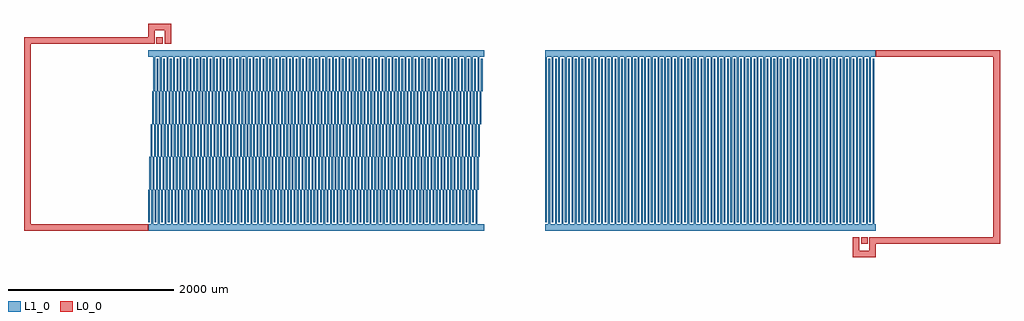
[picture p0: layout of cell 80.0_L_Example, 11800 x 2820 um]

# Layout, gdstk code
import gdstk
lib = gdstk.Library(unit=1e-6, precision=1e-09)
def R(c, l, rs):  # rectangles x0, y0, x1, y1
    for r in rs: c.add(gdstk.rectangle(r[:2], r[2:], *l))
def A(c, l, x, y, w, h, nx, ny, dx, dy):  # array of equal rectangles
    R(c, l, [(x+i*dx, y+j*dy, x+i*dx+w, y+j*dy+h) for i in range(nx) for j in range(ny)])
L0_0 = (0, 0)
L1_0 = (1, 0)

c_80_0_l_example = lib.new_cell('80.0_L_Example')
R(c_80_0_l_example, L0_0, [(8600,-320,8880,-240), (8600,-240,8680,-80), (8800,-240,8880,-80), (8700,-160,8780,-80), (8880,-160,10380,-80), (10300,-80,10380,2100), (-1420,0,80,80), (-1420,80,-1340,2260), (8880,2100,10380,2180), (-1420,2260,80,2340), (80,2260,160,2420), (180,2260,260,2340), (280,2260,360,2420), (80,2420,360,2500)])
A(c_80_0_l_example, L1_0, 224, 0, 80, 80, 49, 2, 80, 2100)
A(c_80_0_l_example, L1_0, 4880, 0, 80, 80, 50, 2, 80, 2100)
A(c_80_0_l_example, L1_0, 120, 80, 20, 416, 50, 1, 80, 0)
A(c_80_0_l_example, L1_0, 4920, 80, 20, 2000, 50, 1, 80, 0)
A(c_80_0_l_example, L1_0, 80, 100, 20, 396, 50, 1, 80, 0)
A(c_80_0_l_example, L1_0, 4880, 100, 20, 2000, 50, 1, 80, 0)
A(c_80_0_l_example, L1_0, 96, 496, 20, 396, 100, 1, 40, 0)
A(c_80_0_l_example, L1_0, 112, 892, 20, 396, 100, 1, 40, 0)
A(c_80_0_l_example, L1_0, 128, 1288, 20, 396, 100, 1, 40, 0)
A(c_80_0_l_example, L1_0, 144, 1684, 20, 416, 50, 1, 80, 0)
A(c_80_0_l_example, L1_0, 184, 1684, 20, 396, 50, 1, 80, 0)
R(c_80_0_l_example, L1_0, [(80,0,224,80), (80,2100,224,2180)])

lib.write_gds('80.0_L_Example.gds')
